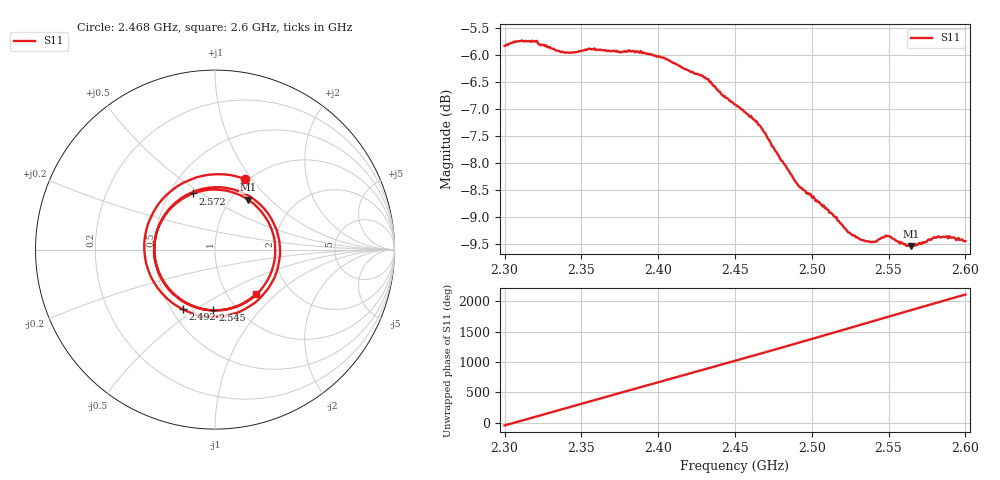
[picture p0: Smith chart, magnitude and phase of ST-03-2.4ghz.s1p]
! NanoVNA-App
! Date: 2026-05-22 18:49:12
! Start: 2.3GHz Stop: 2.6GHz Points: 401
! S-Parameter data: F S11
# Hz S RI R 50
!  Frequency  S11_Real  S11_Imag
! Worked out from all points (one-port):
!   401 points, 2.3 GHz to 2.6 GHz, reference 50 ohm
!   lowest |S11| = -9.5 dB at 2.565 GHz (marker M1), VSWR 2.00, Z = 59.8 + j37.4 ohm
!   |S11| at or under -10 dB: nowhere
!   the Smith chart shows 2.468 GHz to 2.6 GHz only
!   S11 on the Smith chart (normalised r, x): 2.468 GHz: 0.96, +0.93; 2.492 GHz: 0.57, -0.44; 2.545 GHz: 0.78, -0.60; 2.572 GHz: 0.65, +0.46; 2.6 GHz: 1.36, -0.75
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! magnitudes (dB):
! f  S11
! 2.3 GHz  -5.8
! 2.308 GHz  -5.8
! 2.32 GHz  -5.8
! 2.337 GHz  -5.9
! 2.344 GHz  -6.0
! 2.357 GHz  -5.9
! 2.375 GHz  -6.0
! 2.39 GHz  -6.0
! 2.403 GHz  -6.1
! 2.413 GHz  -6.2
! 2.431 GHz  -6.4
! 2.442 GHz  -6.8
! 2.45 GHz  -6.9
! 2.462 GHz  -7.2
! 2.468 GHz  -7.4
! 2.487 GHz  -8.3
! 2.492 GHz  -8.4
! 2.509 GHz  -8.8
! 2.525 GHz  -9.3
! 2.537 GHz  -9.5
! 2.541 GHz  -9.5
! 2.545 GHz  -9.4
! 2.55 GHz  -9.4
! 2.562 GHz  -9.5
! 2.565 GHz  -9.5
! 2.572 GHz  -9.5
! 2.583 GHz  -9.4
! 2.6 GHz  -9.4
